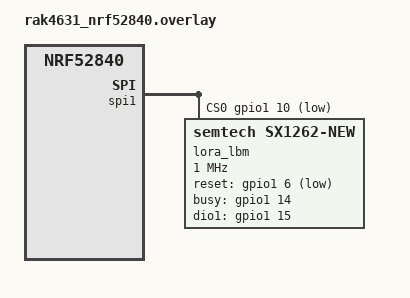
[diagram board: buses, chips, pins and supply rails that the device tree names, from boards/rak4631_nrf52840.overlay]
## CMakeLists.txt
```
# Copyright (c) 2024 Semtech Corporation - Félix Piédallu
# SPDX-License-Identifier: Apache-2.0

cmake_minimum_required(VERSION 3.13.1)

# create compile_commands.json for clang
set(CMAKE_EXPORT_COMPILE_COMMANDS on)

find_package(Zephyr HINTS $ENV{ZEPHYR_BASE})
project(hw_modem)

zephyr_compile_options(-fdiagnostics-color=always)

zephyr_include_directories(src)
target_sources(app PRIVATE src/main_periodical_uplink.c)

# Based on some LBM features, different flags are used in the sample for some
# reason, so we map to them here.
zephyr_compile_definitions_ifdef(CONFIG_LORA_BASICS_MODEM_GEOLOCATION
                                 ADD_APP_GEOLOCATION)

zephyr_compile_definitions_ifdef(LORA_BASICS_MODEM_CRYPTOGRAPHY_LR11XX
                                 USE_LR11XX_CRYPTO)
zephyr_compile_definitions_ifdef(
  LORA_BASICS_MODEM_CRYPTOGRAPHY_LR11XX_WITH_CREDENTIALS USE_LR11XX_CRYPTO)

zephyr_compile_definitions_ifdef(CONFIG_LORA_BASICS_MODEM_RELAY_TX
                                 USE_RELAY_TX)
```

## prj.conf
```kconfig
# Copyright (c) 2024 Semtech Corporation - Félix Piédallu
# SPDX-License-Identifier: Apache-2.0

CONFIG_USE_SEGGER_RTT=n

# ------------------------------ General configuration ------------------------------

# required for floorf (which is used within the smtc_modem lib)
CONFIG_NEWLIB_LIBC=y

# stack size (2048 required by Semtech)
CONFIG_MAIN_STACK_SIZE=4096
# some opereations will be triggered from the system workq, so match above stack size
CONFIG_SYSTEM_WORKQUEUE_STACK_SIZE=4096
# heap size
CONFIG_HEAP_MEM_POOL_SIZE=4096

CONFIG_LOG_BUFFER_SIZE=4096

CONFIG_LOG=y
CONFIG_LOG_BACKEND_UART=y

CONFIG_TEST_RANDOM_GENERATOR=y

CONFIG_SERIAL=y
CONFIG_UART_INTERRUPT_DRIVEN=y

# ------------------------------ Transceiver driver ----------------------------

CONFIG_LORA_BASICS_MODEM_DRIVERS=y
CONFIG_LORA_BASICS_MODEM_DRIVERS_EVENT_TRIGGER_GLOBAL_THREAD=y

# ------------------------------ Requirements LBM ------------------------------

CONFIG_SETTINGS=y
CONFIG_SETTINGS_NVS=y

CONFIG_NVS=y
CONFIG_FLASH=y
CONFIG_FLASH_MAP=y

CONFIG_REBOOT=y

# ------------------------------ LoRa Basics Modem -----------------------------

CONFIG_LORA_BASICS_MODEM=y

# FIXME: maybe use SETTINGS
CONFIG_LORA_BASICS_MODEM_USER_STORAGE_IMPL=n

CONFIG_LORA_BASICS_MODEM_RP2_103=y
CONFIG_LORA_BASICS_MODEM_ENABLE_ALL_REGIONS=y

CONFIG_LORA_BASICS_MODEM_CRYPTOGRAPHY_SOFT=n

CONFIG_LORA_BASICS_MODEM_CLASS_B=n
CONFIG_LORA_BASICS_MODEM_CLASS_C=n
CONFIG_LORA_BASICS_MODEM_MULTICAST=n
CONFIG_LORA_BASICS_MODEM_CSMA=y

CONFIG_LORA_BASICS_MODEM_ALC_SYNC=y
CONFIG_LORA_BASICS_MODEM_ALC_SYNC_V2=y

CONFIG_LORA_BASICS_MODEM_FUOTA=n
# CONFIG_LORA_BASICS_MODEM_FUOTA_VERSION_1=y
# CONFIG_LORA_BASICS_MODEM_FUOTA_FMP=y
# CONFIG_LORA_BASICS_MODEM_FUOTA_MPA=y

CONFIG_LORA_BASICS_MODEM_ALMANAC=n
CONFIG_LORA_BASICS_MODEM_STREAM=y
CONFIG_LORA_BASICS_MODEM_LFU=y
CONFIG_LORA_BASICS_MODEM_DEVICE_MANAGEMENT=y
CONFIG_LORA_BASICS_MODEM_GEOLOCATION=n
CONFIG_LORA_BASICS_MODEM_STORE_AND_FORWARD=n
# CONFIG_LORA_BASICS_MODEM_BEACON_TX=y
# CONFIG_LORA_BASICS_MODEM_RELAY_TX=y


CONFIG_LORA_BASICS_MODEM_APP_HELPERS=y

# Increase required for store_and_forward
CONFIG_LORA_BASICS_MODEM_CONTEXT_BUFFER_SIZE=1024

CONFIG_LORA_BASICS_MODEM_MAIN_THREAD=y
CONFIG_LORA_BASICS_MODEM_MAIN_THREAD_STACK_SIZE=4096

# ------------------------------ Debug ------------------------------

# Compiler optimizations will be set to -Og independently of other options.
CONFIG_DEBUG_OPTIMIZATIONS=y

# This option enables the addition of various information that can be
# used by debuggers in debugging the system, or enable additional debugging
# information to be reported at runtime.
CONFIG_DEBUG_INFO=y

# This option adds additional information to the thread object, so that the
# debugger can discover the threads.
CONFIG_DEBUG_THREAD_INFO=y
CONFIG_DEBUG_COREDUMP=y

# enable asserts during development only
CONFIG_ASSERT=n

CONFIG_LORA_BASICS_MODEM_LOG_LEVEL_DBG=y
CONFIG_LORA_BASICS_MODEM_LOG_LEVEL_DEEP_DBG=n

# ------------------------------ Requirements of this sample ------------------------------

CONFIG_PM_DEVICE=y
CONFIG_WATCHDOG=y





# ------------------------------ Requirements of this sample ------------------------------


# Apps common is not ported yet, so we need to disable it
# We do the correct initialization "by hand" in the sample
# CONFIG_LORA_BASICS_MODEM_APPS_COMMON=n
```

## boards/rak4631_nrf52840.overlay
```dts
#include <zephyr/dt-bindings/lora_lbm/sx126x.h>

/ {
	chosen {
		zephyr,lora-transceiver = &lora_lbm;
	};
	aliases {
		lora-transceiver = &lora_lbm;
		smtc-hal-uart = &uart1;
		smtc-watchdog = &wdt;
	};
};

&spi1 {
	status = "okay";

	cs-gpios = <&gpio1 10 GPIO_ACTIVE_LOW>;

	/*
	This node is inspired by the `semtech,sx1262` compatible node in
	zephyr/boards/rak/rak4631/rak4631_nrf52840.dts.
	*/
	lora_lbm: lora_lbm@0 {
		status = "okay";

		compatible = "semtech,sx1262-new";
		reg = <0>;
		reset-gpios = <&gpio1 6 GPIO_ACTIVE_LOW>;
		busy-gpios = <&gpio1 14 GPIO_ACTIVE_HIGH>;
		dio1-gpios = <&gpio1 15 GPIO_ACTIVE_HIGH>;
		dio2-as-rf-switch;
		dio3-as-tcxo-control;
		reg-mode = <SX126X_REG_MODE_DCDC>;
		tcxo-voltage = <SX126X_TCXO_SUPPLY_3_3V>;
		tcxo-wakeup-time = <5>;
		spi-max-frequency = <1000000>;
	};
};
```

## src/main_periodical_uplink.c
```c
/*
 * Copyright (c) 2024 Semtech Corporation
 *
 * SPDX-License-Identifier: Apache-2.0
 */

#include <stdint.h>   // C99 types
#include <stdbool.h>  // bool type

#include "smtc_modem_api.h"
#include "smtc_modem_utilities.h"

#include "smtc_modem_hal.h"
#include "smtc_hal_dbg_trace.h"

#include "example_options.h"

#include "smtc_hal_watchdog.h"

#if defined( USE_RELAY_TX )
#include "smtc_modem_relay_api.h"
#endif

#include <zephyr/kernel.h>
#include <zephyr/drivers/gpio.h>
#include <smtc_modem_hal_init.h>

#include <zephyr/lorawan_lbm/lbm_main_thread.h>

/*
 * -----------------------------------------------------------------------------
 * --- PRIVATE MACROS-----------------------------------------------------------
 */

/*!
 * @brief Stringify constants
 */
#define xstr( a ) str( a )
#define str( a ) #a

/*!
 * @brief Helper macro that returned a human-friendly message if a command does not return SMTC_MODEM_RC_OK
 *
 * @remark The macro is implemented to be used with functions returning a @ref smtc_modem_return_code_t
 *
 * @param[in] rc  Return code
 */

#define ASSERT_SMTC_MODEM_RC( rc_func )                                                         \
    do                                                                                          \
    {                                                                                           \
        smtc_modem_return_code_t rc = rc_func;                                                  \
        if( rc == SMTC_MODEM_RC_NOT_INIT )                                                      \
        {                                                                                       \
            SMTC_HAL_TRACE_ERROR( "In %s - %s (line %d): %s\n", __FILE__, __func__, __LINE__,   \
                                  xstr( SMTC_MODEM_RC_NOT_INIT ) );                             \
        }                                                                                       \
        else if( rc == SMTC_MODEM_RC_INVALID )                                                  \
        {                                                                                       \
            SMTC_HAL_TRACE_ERROR( "In %s - %s (line %d): %s\n", __FILE__, __func__, __LINE__,   \
                                  xstr( SMTC_MODEM_RC_INVALID ) );                              \
        }                                                                                       \
        else if( rc == SMTC_MODEM_RC_BUSY )                                                     \
        {                                                                                       \
            SMTC_HAL_TRACE_ERROR( "In %s - %s (line %d): %s\n", __FILE__, __func__, __LINE__,   \
                                  xstr( SMTC_MODEM_RC_BUSY ) );                                 \
        }                                                                                       \
        else if( rc == SMTC_MODEM_RC_FAIL )                                                     \
        {                                                                                       \
            SMTC_HAL_TRACE_ERROR( "In %s - %s (line %d): %s\n", __FILE__, __func__, __LINE__,   \
                                  xstr( SMTC_MODEM_RC_FAIL ) );                                 \
        }                                                                                       \
        else if( rc == SMTC_MODEM_RC_NO_TIME )                                                  \
        {                                                                                       \
            SMTC_HAL_TRACE_WARNING( "In %s - %s (line %d): %s\n", __FILE__, __func__, __LINE__, \
                                    xstr( SMTC_MODEM_RC_NO_TIME ) );                            \
        }                                                                                       \
        else if( rc == SMTC_MODEM_RC_INVALID_STACK_ID )                                         \
        {                                                                                       \
            SMTC_HAL_TRACE_ERROR( "In %s - %s (line %d): %s\n", __FILE__, __func__, __LINE__,   \
                                  xstr( SMTC_MODEM_RC_INVALID_STACK_ID ) );                     \
        }                                                                                       \
        else if( rc == SMTC_MODEM_RC_NO_EVENT )                                                 \
        {                                                                                       \
            SMTC_HAL_TRACE_INFO( "In %s - %s (line %d): %s\n", __FILE__, __func__, __LINE__,    \
                                 xstr( SMTC_MODEM_RC_NO_EVENT ) );                              \
        }                                                                                       \
    } while( 0 )

/*
 * -----------------------------------------------------------------------------
 * --- PRIVATE CONSTANTS -------------------------------------------------------
 */

/**
 * Stack id value (multistacks modem is not yet available)
 */
#define STACK_ID 0

/**
 * @brief Stack credentials
 */
#if !defined( USE_LR11XX_CREDENTIALS )
static const uint8_t user_dev_eui[8]      = USER_LORAWAN_DEVICE_EUI;
static const uint8_t user_join_eui[8]     = USER_LORAWAN_JOIN_EUI;
static const uint8_t user_gen_app_key[16] = USER_LORAWAN_GEN_APP_KEY;
static const uint8_t user_app_key[16]     = USER_LORAWAN_APP_KEY;
#endif

/**
 * @brief Watchdog counter reload value during sleep (The period must be lower than MCU watchdog period (here 32s))
 */
#define WATCHDOG_RELOAD_PERIOD_MS 20000

/**
 * @brief Periodical uplink alarm delay in seconds
 */
#ifndef PERIODICAL_UPLINK_DELAY_S
#ifdef RELAY_RX
#define PERIODICAL_UPLINK_DELAY_S 3600
#else
#define PERIODICAL_UPLINK_DELAY_S 60
#endif
#endif

#ifndef DELAY_FIRST_MSG_AFTER_JOIN
#define DELAY_FIRST_MSG_AFTER_JOIN 60
#endif

/**
 * @brief Blue user button or BUTTON 1 on nrf52840-dk
 */

#define USER_BUTTON_NODE	DT_ALIAS(smtc_user_button)
#define HAS_USER_BUTTON DT_NODE_HAS_STATUS(USER_BUTTON_NODE, okay)
#if HAS_USER_BUTTON
static const struct gpio_dt_spec button = GPIO_DT_SPEC_GET_OR(USER_BUTTON_NODE, gpios, {0});
static struct gpio_callback button_cb_data;
#endif




/*
 * -----------------------------------------------------------------------------
 * --- PRIVATE TYPES -----------------------------------------------------------
 */

/*
 * -----------------------------------------------------------------------------
 * --- PRIVATE VARIABLES -------------------------------------------------------
 */
static uint8_t                  rx_payload[SMTC_MODEM_MAX_LORAWAN_PAYLOAD_LENGTH] = { 0 };  // Buffer for rx payload
static uint8_t                  rx_payload_size = 0;      // Size of the payload in the rx_payload buffer
static smtc_modem_dl_metadata_t rx_metadata     = { 0 };  // Metadata of downlink
static uint8_t                  rx_remaining    = 0;      // Remaining downlink payload in modem

static volatile bool user_button_is_press = false;  // Flag for button status
static uint32_t      uplink_counter       = 0;      // uplink raising counter

#if defined( USE_RELAY_TX )
static smtc_modem_relay_tx_config_t relay_config = { 0 };
#endif
/**
 * @brief Internal credentials
 */
#if defined( USE_LR11XX_CREDENTIALS )
static uint8_t chip_eui[SMTC_MODEM_EUI_LENGTH] = { 0 };
static uint8_t chip_pin[SMTC_MODEM_PIN_LENGTH] = { 0 };
#endif

/*
 * -----------------------------------------------------------------------------
 * --- PRIVATE FUNCTIONS DECLARATION -------------------------------------------
 */

/**
 * @brief User callback for modem event
 *
 *  This callback is called every time an event ( see smtc_modem_event_t ) appears in the modem.
 *  Several events may have to be read from the modem when this callback is called.
 */
static void modem_event_callback( void );

/**
 * @brief User callback for button EXTI
 *
 * @param context Define by the user at the init
 */
#if HAS_USER_BUTTON
static void user_button_callback( const void* context );
#endif

/**
 * @brief Send the 32bits uplink counter on chosen port
 */
static void send_uplink_counter_on_port( uint8_t port );


/**
 * @brief Callback for modem hal
 */
static int prv_get_battery_level_cb(uint32_t *value)
{
	return 98;
}

/**
 * @brief Callback for modem hal
 */
static int prv_get_temperature_cb(int32_t *value)
{
	return 25;
}

/**
 * @brief Callback for modem hal
 */
static int prv_get_voltage_cb(uint32_t *value)
{
	return 3300;
}

#ifdef CONFIG_LORA_BASICS_MODEM_FUOTA
static int prv_get_hw_version_for_fuota(uint32_t *version)
{
	*version = 1;
	return 0;
}

static int prv_get_fw_version_for_fuota(uint32_t *version)
{
	*version = 1;
	return 0;
}

static int prv_get_fw_status_available_for_fuota(uint8_t *status)
{
	*status = 1;
	return 0;
}

static int prv_get_next_fw_version_for_fuota(uint32_t *version)
{
	*version = 1;
	return 0;
}

static int prv_get_fw_delete_status_for_fuota(uint32_t status)
{
	return 0;
}
#endif /* CONFIG_LORA_BASICS_MODEM_FUOTA */

/* Callbacks for HAL implementation */
static struct smtc_modem_hal_cb prv_hal_cb = {
	.get_battery_level = prv_get_battery_level_cb,
	.get_temperature = prv_get_temperature_cb,
	.get_voltage = prv_get_voltage_cb,

#ifdef CONFIG_LORA_BASICS_MODEM_FUOTA
	.get_hw_version_for_fuota = prv_get_hw_version_for_fuota,
	.get_fw_version_for_fuota = prv_get_fw_version_for_fuota,
	.get_fw_status_available_for_fuota = prv_get_fw_status_available_for_fuota,
	.get_next_fw_version_for_fuota = prv_get_next_fw_version_for_fuota,
	.get_fw_delete_status_for_fuota = prv_get_fw_delete_status_for_fuota,
#endif /* CONFIG_LORA_BASICS_MODEM_FUOTA */
};


/*
 * -----------------------------------------------------------------------------
 * --- PUBLIC FUNCTIONS DEFINITION ---------------------------------------------
 */

/* A binary semaphore to notify the main LBM loop */
K_SEM_DEFINE(periodical_uplink_event_sem, 0, 1);

#if HAS_USER_BUTTON
/* for zephyr compat*/
void button_pressed(const struct device *dev, struct gpio_callback *cb,
		    uint32_t pins)
{
	printk("%s", __FUNCTION__);
	user_button_callback(dev);
}
#endif

/**
 * @brief Example to send a user payload on an external event
 *
 */
int main(void)
{
	lora_basics_modem_start_work_thread(&modem_event_callback, &prv_hal_cb);

#if HAS_USER_BUTTON
	if (!gpio_is_ready_dt(&button)) {
		printk("Error: button device %s is not ready\n", button.port->name);
		return 1;
	}

	int ret = gpio_pin_configure_dt(&button, GPIO_INPUT);
	if (ret != 0) {
		printk("Error %d: failed to configure %s pin %d\n",
		       ret, button.port->name, button.pin);
		return 1;
	}

	ret = gpio_pin_interrupt_configure_dt(&button,
					      GPIO_INT_EDGE_TO_ACTIVE);
	if (ret != 0) {
		printk("Error %d: failed to configure interrupt on %s pin %d\n",
			ret, button.port->name, button.pin);
		return 1;
	}

	gpio_init_callback(&button_cb_data, button_pressed, BIT(button.pin));
	gpio_add_callback(button.port, &button_cb_data);
#endif

    SMTC_HAL_TRACE_INFO( "Periodical uplink (%d sec) example is starting \n", PERIODICAL_UPLINK_DELAY_S );

    while (true) {
#if HAS_USER_BUTTON
        // Check button
        if (user_button_is_press == true) {
            user_button_is_press = false;

            smtc_modem_status_mask_t status_mask = 0;
            smtc_modem_get_status( STACK_ID, &status_mask );

            // Check if the device has already joined a network
            if ((status_mask & SMTC_MODEM_STATUS_JOINED) == SMTC_MODEM_STATUS_JOINED) {
                // Send the uplink counter on port 102
                send_uplink_counter_on_port(102);
            }
            smtc_modem_hal_wake_up();
        }
#endif

        hal_watchdog_reload();
        if ((user_button_is_press == false) && (smtc_modem_is_irq_flag_pending( ) == false)) {
            k_sem_take(&periodical_uplink_event_sem, K_MSEC(WATCHDOG_RELOAD_PERIOD_MS));
            hal_watchdog_reload();
        }
    }
}

/*
 * -----------------------------------------------------------------------------
 * --- PRIVATE FUNCTIONS DEFINITION --------------------------------------------
 */

static void modem_event_callback( void )
{
    SMTC_HAL_TRACE_MSG( "Modem event callback\n");

    smtc_modem_event_t current_event;
    uint8_t            event_pending_count;
    uint8_t            stack_id = STACK_ID;

    // Continue to read modem event until all event has been processed
    do
    {
        // Read modem event
        ASSERT_SMTC_MODEM_RC( smtc_modem_get_event( &current_event, &event_pending_count ) );

        switch( current_event.event_type )
        {
        case SMTC_MODEM_EVENT_RESET:
            SMTC_HAL_TRACE_INFO( "Event received: RESET\n" );

#if !defined( USE_LR11XX_CREDENTIALS )
            // Set user credentials
            ASSERT_SMTC_MODEM_RC( smtc_modem_set_deveui( stack_id, user_dev_eui ) );
            ASSERT_SMTC_MODEM_RC( smtc_modem_set_joineui( stack_id, user_join_eui ) );
            ASSERT_SMTC_MODEM_RC( smtc_modem_set_appkey( stack_id, user_gen_app_key ) );
            ASSERT_SMTC_MODEM_RC( smtc_modem_set_nwkkey( stack_id, user_app_key ) );
#else
            // Get internal credentials
            ASSERT_SMTC_MODEM_RC( smtc_modem_get_chip_eui( stack_id, chip_eui ) );
            SMTC_HAL_TRACE_ARRAY( "CHIP_EUI", chip_eui, SMTC_MODEM_EUI_LENGTH );
            ASSERT_SMTC_MODEM_RC( smtc_modem_get_pin( stack_id, chip_pin ) );
            SMTC_HAL_TRACE_ARRAY( "CHIP_PIN", chip_pin, SMTC_MODEM_PIN_LENGTH );
#endif
            // Set user region
            ASSERT_SMTC_MODEM_RC( smtc_modem_set_region( stack_id, MODEM_EXAMPLE_REGION ) );
// Schedule a Join LoRaWAN network
#if defined( USE_RELAY_TX )
            // by default when relay mode is activated , CSMA is also activated by default to at least protect the WOR
            // transmission
            // if you want to disable the csma please uncomment the next line
            // ASSERT_SMTC_MODEM_RC(smtc_modem_csma_set_state (stack_id,false));

            relay_config.second_ch_enable = false;

            // The RelayModeActivation field indicates how the end-device SHOULD manage the relay mode.
            relay_config.activation = SMTC_MODEM_RELAY_TX_ACTIVATION_MODE_DYNAMIC;

            // number_of_miss_wor_ack_to_switch_in_nosync_mode  field indicates that the
            // relay mode SHALL be restart in no sync mode when it does not receive a WOR ACK frame after
            // number_of_miss_wor_ack_to_switch_in_nosync_mode consecutive uplinks.
            relay_config.number_of_miss_wor_ack_to_switch_in_nosync_mode = 3;

            // smart_level field indicates that the
            // relay mode SHALL be enabled if the end-device does not receive a valid downlink after smart_level
            // consecutive uplinks.
            relay_config.smart_level = 8;

            // The BackOff field indicates how the end-device SHALL behave when it does not receive
            // a WOR ACK frame.
            // BackOff Description
            // 0 Always send a LoRaWAN uplink
            // 1..63 Send a LoRaWAN uplink after X WOR frames without a WOR ACK
            relay_config.backoff = 4;
            ASSERT_SMTC_MODEM_RC( smtc_modem_relay_tx_enable( stack_id, &relay_config ) );
#endif
            ASSERT_SMTC_MODEM_RC( smtc_modem_join_network( stack_id ) );
            break;

        case SMTC_MODEM_EVENT_ALARM:
            SMTC_HAL_TRACE_INFO( "Event received: ALARM\n" );
            // Send periodical uplink on port 101
            send_uplink_counter_on_port( 101 );
            // Restart periodical uplink alarm
            ASSERT_SMTC_MODEM_RC( smtc_modem_alarm_start_timer( PERIODICAL_UPLINK_DELAY_S ) );
            break;

        case SMTC_MODEM_EVENT_JOINED:
            SMTC_HAL_TRACE_INFO( "Event received: JOINED\n" );
            SMTC_HAL_TRACE_INFO( "Modem is now joined \n" );

            // Send first periodical uplink on port 101
            send_uplink_counter_on_port( 101 );
            // start periodical uplink alarm
            ASSERT_SMTC_MODEM_RC( smtc_modem_alarm_start_timer( DELAY_FIRST_MSG_AFTER_JOIN ) );
            break;

        case SMTC_MODEM_EVENT_TXDONE:
            SMTC_HAL_TRACE_INFO( "Event received: TXDONE\n" );
            SMTC_HAL_TRACE_INFO( "Transmission done \n" );
            break;

        case SMTC_MODEM_EVENT_DOWNDATA:
            SMTC_HAL_TRACE_INFO( "Event received: DOWNDATA\n" );
            // Get downlink data
            ASSERT_SMTC_MODEM_RC(
                smtc_modem_get_downlink_data( rx_payload, &rx_payload_size, &rx_metadata, &rx_remaining ) );
            SMTC_HAL_TRACE_PRINTF( "Data received on port %u\n", rx_metadata.fport );
            SMTC_HAL_TRACE_ARRAY( "Received payload", rx_payload, rx_payload_size );
            break;

        case SMTC_MODEM_EVENT_JOINFAIL:
            SMTC_HAL_TRACE_INFO( "Event received: JOINFAIL\n" );
            break;

        case SMTC_MODEM_EVENT_ALCSYNC_TIME:
            SMTC_HAL_TRACE_INFO( "Event received: ALCSync service TIME\n" );
            break;

        case SMTC_MODEM_EVENT_LINK_CHECK:
            SMTC_HAL_TRACE_INFO( "Event received: LINK_CHECK\n" );
            break;

        case SMTC_MODEM_EVENT_CLASS_B_PING_SLOT_INFO:
            SMTC_HAL_TRACE_INFO( "Event received: CLASS_B_PING_SLOT_INFO\n" );
            break;

        case SMTC_MODEM_EVENT_CLASS_B_STATUS:
            SMTC_HAL_TRACE_INFO( "Event received: CLASS_B_STATUS\n" );
            break;

        case SMTC_MODEM_EVENT_LORAWAN_MAC_TIME:
            SMTC_HAL_TRACE_WARNING( "Event received: LORAWAN MAC TIME\n" );
            break;

        case SMTC_MODEM_EVENT_LORAWAN_FUOTA_DONE:
        {
            bool status = current_event.event_data.fuota_status.successful;
            if( status == true )
            {
                SMTC_HAL_TRACE_INFO( "Event received: FUOTA SUCCESSFUL\n" );
            }
            else
            {
                SMTC_HAL_TRACE_WARNING( "Event received: FUOTA FAIL\n" );
            }
            break;
        }

        case SMTC_MODEM_EVENT_NO_MORE_MULTICAST_SESSION_CLASS_C:
            SMTC_HAL_TRACE_INFO( "Event received: MULTICAST CLASS_C STOP\n" );
            break;

        case SMTC_MODEM_EVENT_NO_MORE_MULTICAST_SESSION_CLASS_B:
            SMTC_HAL_TRACE_INFO( "Event received: MULTICAST CLASS_B STOP\n" );
            break;

        case SMTC_MODEM_EVENT_NEW_MULTICAST_SESSION_CLASS_C:
            SMTC_HAL_TRACE_INFO( "Event received: New MULTICAST CLASS_C \n" );
            break;

        case SMTC_MODEM_EVENT_NEW_MULTICAST_SESSION_CLASS_B:
            SMTC_HAL_TRACE_INFO( "Event received: New MULTICAST CLASS_B\n" );
            break;

        case SMTC_MODEM_EVENT_FIRMWARE_MANAGEMENT:
            SMTC_HAL_TRACE_INFO( "Event received: FIRMWARE_MANAGEMENT\n" );
            if( current_event.event_data.fmp.status == SMTC_MODEM_EVENT_FMP_REBOOT_IMMEDIATELY )
            {
                smtc_modem_hal_reset_mcu( );
            }
            break;

        case SMTC_MODEM_EVENT_STREAM_DONE:
            SMTC_HAL_TRACE_INFO( "Event received: STREAM_DONE\n" );
            break;

        case SMTC_MODEM_EVENT_UPLOAD_DONE:
            SMTC_HAL_TRACE_INFO( "Event received: UPLOAD_DONE\n" );
            break;

        case SMTC_MODEM_EVENT_DM_SET_CONF:
            SMTC_HAL_TRACE_INFO( "Event received: DM_SET_CONF\n" );
            break;

        case SMTC_MODEM_EVENT_MUTE:
            SMTC_HAL_TRACE_INFO( "Event received: MUTE\n" );
            break;
#if defined( USE_RELAY_TX )
        case SMTC_MODEM_EVENT_RELAY_TX_DYNAMIC:  //!< Relay TX dynamic mode has enable or disable the WOR protocol
            SMTC_HAL_TRACE_INFO( "Event received: RELAY_TX_DYNAMIC\n" );
            break;
        case SMTC_MODEM_EVENT_RELAY_TX_MODE:  //!< Relay TX activation has been updated
            SMTC_HAL_TRACE_INFO( "Event received: RELAY_TX_MODE\n" );
            break;
        case SMTC_MODEM_EVENT_RELAY_TX_SYNC:  //!< Relay TX synchronisation has changed
            SMTC_HAL_TRACE_INFO( "Event received: RELAY_TX_SYNC\n" );
            break;
#endif
        default:
            SMTC_HAL_TRACE_ERROR( "Unknown event %u\n", current_event.event_type );
            break;
        }
    } while( event_pending_count > 0 );
}

#if HAS_USER_BUTTON
static void user_button_callback(const void* context )
{
    SMTC_HAL_TRACE_INFO( "Button pushed\n" );

    ( void ) context;  // Not used in the example - avoid warning

    static uint32_t last_press_timestamp_ms = 0;

    // Debounce the button press, avoid multiple triggers
    if( ( int32_t ) ( smtc_modem_hal_get_time_in_ms( ) - last_press_timestamp_ms ) > 500 )
    {
        last_press_timestamp_ms = smtc_modem_hal_get_time_in_ms( );
        user_button_is_press    = true;
    }
    // Wake up the main thread
    k_sem_give(&periodical_uplink_event_sem);
}
#endif

static void send_uplink_counter_on_port( uint8_t port )
{
    // Send uplink counter on port 102
    uint8_t buff[4] = { 0 };
    buff[0]         = ( uplink_counter >> 24 ) & 0xFF;
    buff[1]         = ( uplink_counter >> 16 ) & 0xFF;
    buff[2]         = ( uplink_counter >> 8 ) & 0xFF;
    buff[3]         = ( uplink_counter & 0xFF );
    ASSERT_SMTC_MODEM_RC( smtc_modem_request_uplink( STACK_ID, port, false, buff, 4 ) );
    // Increment uplink counter
    uplink_counter++;
}

/* --- EOF ------------------------------------------------------------------ */
```
